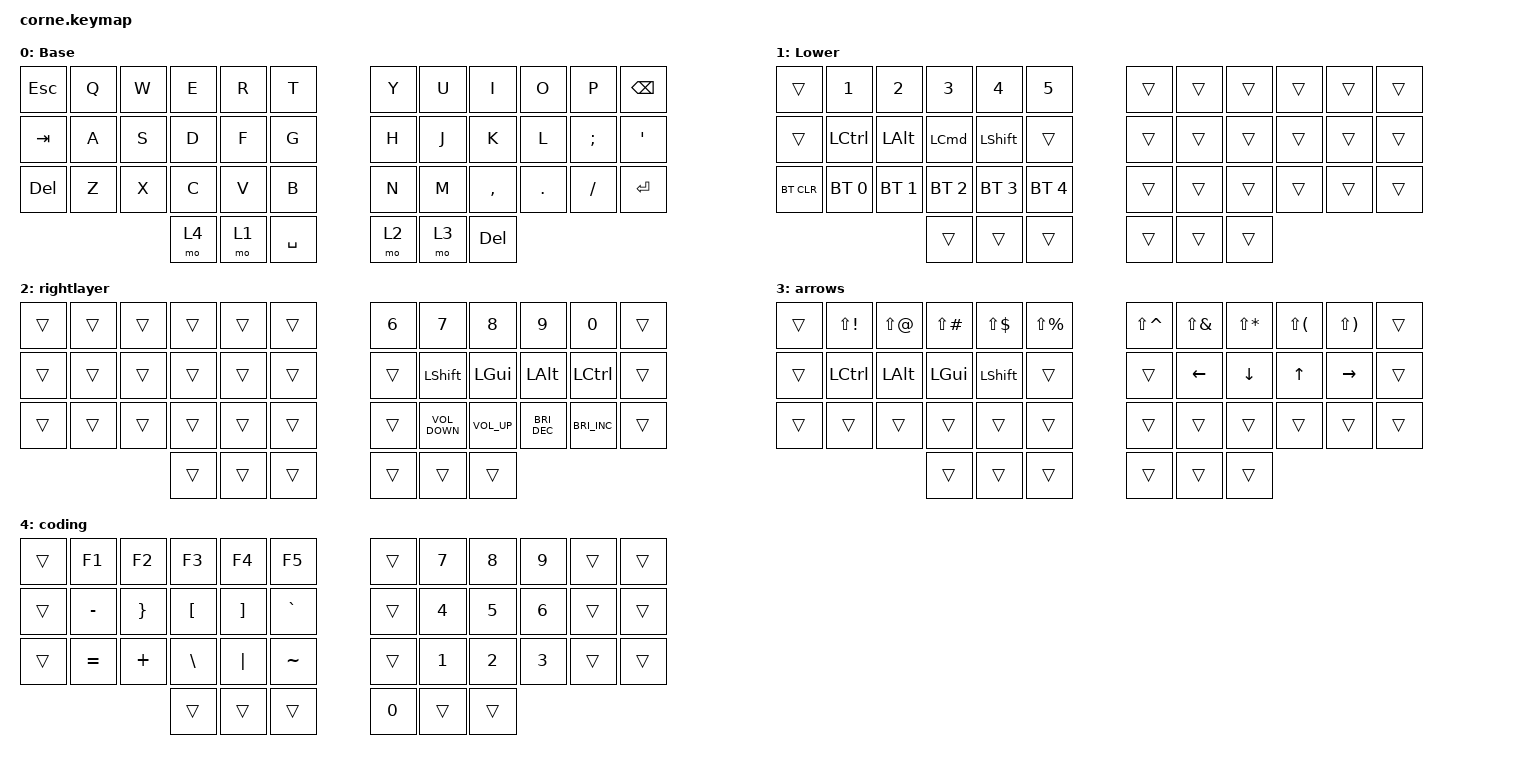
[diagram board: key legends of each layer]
/*
 * Copyright (c) 2020 The ZMK Contributors
 *
 * SPDX-License-Identifier: MIT
 */

#include <behaviors.dtsi>
#include <dt-bindings/zmk/bt.h>
#include <dt-bindings/zmk/keys.h>

/ {
    keymap {
        compatible = "zmk,keymap";

        default_layer {
            // -----------------------------------------------------------------------------------------
            // |  TAB |  Q  |  W  |  E  |  R  |  T  |   |  Y  |  U   |  I  |  O  |  P  | BKSP |
            // | CTRL |  A  |  S  |  D  |  F  |  G  |   |  H  |  J   |  K  |  L  |  ;  |  '   |
            // | SHFT |  Z  |  X  |  C  |  V  |  B  |   |  N  |  M   |  ,  |  .  |  /  | ESC  |
            //                    | GUI | LWR | SPC |   | ENT | RSE  | ALT |

            display-name = "Base";
            bindings = <
&kp ESC     &kp Q  &kp W  &kp E  &kp R  &kp T        &kp Y  &kp U  &kp I       &kp O    &kp P     &kp BSPC
&kp TAB     &kp A  &kp S  &kp D  &kp F  &kp G        &kp H  &kp J  &kp K       &kp L    &kp SEMI  &kp SQT
&kp DELETE  &kp Z  &kp X  &kp C  &kp V  &kp B        &kp N  &kp M  &kp COMMA   &kp DOT  &kp FSLH  &kp ENTER
                          &mo 4  &mo 1  &kp SPACE    &mo 2  &mo 3  &kp DELETE
            >;
        };

        left_layer {
            // -----------------------------------------------------------------------------------------
            // |  TAB |  1  |  2  |  3  |  4  |  5  |   |  6  |  7  |  8  |  9  |  0  | BKSP |
            // | BTCLR| BT1 | BT2 | BT3 | BT4 | BT5 |   | LFT | DWN |  UP | RGT |     |      |
            // | SHFT |     |     |     |     |     |   |     |     |     |     |     |      |
            //                    | GUI |     | SPC |   | ENT |     | ALT |

            display-name = "Lower";
            bindings = <
&trans      &kp N1            &kp N2        &kp N3            &kp N4          &kp N5          &trans  &trans  &trans  &trans  &trans  &trans
&trans      &kp LEFT_CONTROL  &kp LEFT_ALT  &kp LEFT_COMMAND  &kp LEFT_SHIFT  &trans          &trans  &trans  &trans  &trans  &trans  &trans
&bt BT_CLR  &bt BT_SEL 0      &bt BT_SEL 1  &bt BT_SEL 2      &bt BT_SEL 3    &bt BT_SEL 4    &trans  &trans  &trans  &trans  &trans  &trans
                                            &trans            &trans          &trans          &trans  &trans  &trans
            >;
        };

        rightlayer {
            bindings = <
&trans  &trans  &trans  &trans  &trans  &trans    &kp N6  &kp N7             &kp N8           &kp N9         &kp N0                &trans
&trans  &trans  &trans  &trans  &trans  &trans    &trans  &kp LSHFT          &kp LGUI         &kp LALT       &kp LCTRL             &trans
&trans  &trans  &trans  &trans  &trans  &trans    &trans  &kp C_VOLUME_DOWN  &kp C_VOLUME_UP  &kp C_BRI_DEC  &kp C_BRIGHTNESS_INC  &trans
                        &trans  &trans  &trans    &trans  &trans             &trans
            >;
        };

        arrows {
            bindings = <
&trans  &kp LS(EXCL)  &kp LS(AT)  &kp LS(POUND)  &kp LS(DLLR)  &kp LS(PRCNT)    &kp LS(CARET)  &kp LS(AMPS)  &kp LS(STAR)  &kp LS(LPAR)  &kp LS(RPAR)  &trans
&trans  &kp LCTRL     &kp LALT    &kp LGUI       &kp LSHFT     &trans           &trans         &kp LEFT      &kp DOWN      &kp UP        &kp RIGHT     &trans
&trans  &trans        &trans      &trans         &trans        &trans           &trans         &trans        &trans        &trans        &trans        &trans
                                  &trans         &trans        &trans           &trans         &trans        &trans
            >;
        };

        coding {
            bindings = <
&trans  &kp F1     &kp F2           &kp F3         &kp F4             &kp F5       &trans  &kp N7  &kp N8  &kp N9  &trans  &trans
&trans  &kp MINUS  &kp RIGHT_BRACE  &kp LBKT       &kp RIGHT_BRACKET  &kp GRAVE    &trans  &kp N4  &kp N5  &kp N6  &trans  &trans
&trans  &kp EQUAL  &kp PLUS         &kp BACKSLASH  &kp PIPE           &kp TILDE    &trans  &kp N1  &kp N2  &kp N3  &trans  &trans
                                    &trans         &trans             &trans       &kp N0  &trans  &trans
            >;
        };
    };
};
